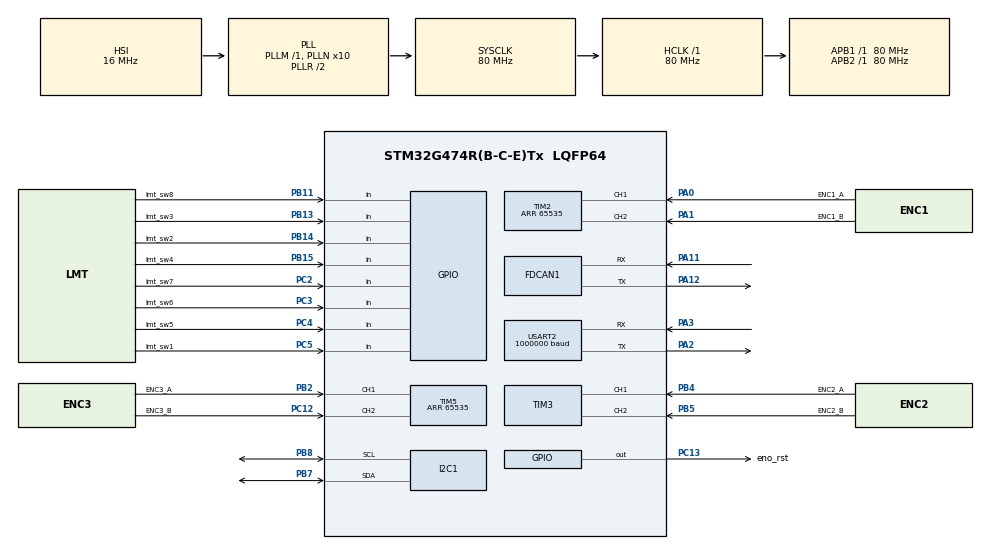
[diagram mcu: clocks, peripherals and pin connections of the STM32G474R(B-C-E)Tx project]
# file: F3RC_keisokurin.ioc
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FDCAN1.CalculateBaudRateNominal=1000000
FDCAN1.CalculateTimeBitNominal=1000
FDCAN1.CalculateTimeQuantumNominal=50.0
FDCAN1.DataPrescaler=2
FDCAN1.DataTimeSeg1=15
FDCAN1.DataTimeSeg2=4
FDCAN1.FrameFormat=FDCAN_FRAME_FD_BRS
FDCAN1.NominalPrescaler=4
FDCAN1.NominalTimeSeg1=15
FDCAN1.NominalTimeSeg2=2*2
FDCAN1.StdFiltersNbr=1
I2C1.Timing=0x10909CEC
Mcu.Family=STM32G4
Mcu.Name=STM32G474R(B-C-E)Tx
Mcu.Package=LQFP64
NVIC.FDCAN1_IT0_IRQn=true\:3\:0\:true\:false\:true\:true\:true\:true
NVIC.FDCAN1_IT1_IRQn=true\:3\:0\:true\:false\:true\:true\:true\:true
NVIC.PriorityGroup=NVIC_PRIORITYGROUP_4
NVIC.TIM4_IRQn=true\:1\:0\:true\:false\:true\:true\:true\:true
NVIC.TIM6_DAC_IRQn=true\:2\:0\:true\:false\:true\:true\:true\:true
NVIC.TIM7_DAC_IRQn=true\:1\:0\:true\:false\:true\:true\:true\:true
NVIC.USART2_IRQn=true\:0\:0\:false\:false\:true\:true\:true\:true
PA0.GPIO_Label=ENC1_A
PA0.GPIO_PuPd=GPIO_PULLUP
PA0.Signal=S_TIM2_CH1
PA1.GPIO_Label=ENC1_B
PA1.GPIO_PuPd=GPIO_PULLUP
PA1.Signal=S_TIM2_CH2
PA11.Mode=FDCAN_Activate
PA11.Signal=FDCAN1_RX
PA12.Mode=FDCAN_Activate
PA12.Signal=FDCAN1_TX
PA2.Mode=Asynchronous
PA2.Signal=USART2_TX
PA3.Mode=Asynchronous
PA3.Signal=USART2_RX
PB11.GPIO_Label=lmt_sw8
PB11.Signal=GPIO_Input
PB13.GPIO_Label=lmt_sw3
PB13.Signal=GPIO_Input
PB14.GPIO_Label=lmt_sw2
PB14.Signal=GPIO_Input
PB15.GPIO_Label=lmt_sw4
PB15.Signal=GPIO_Input
PB2.GPIO_Label=ENC3_A
PB2.GPIO_PuPd=GPIO_PULLUP
PB2.Signal=S_TIM5_CH1
PB4.GPIO_Label=ENC2_A
PB4.GPIO_PuPd=GPIO_PULLUP
PB4.Signal=S_TIM3_CH1
PB5.GPIO_Label=ENC2_B
PB5.GPIO_PuPd=GPIO_PULLUP
PB5.Signal=S_TIM3_CH2
PB7.Mode=I2C
PB7.Signal=I2C1_SDA
PB8-BOOT0.Mode=I2C
PB8-BOOT0.Signal=I2C1_SCL
PC12.GPIO_Label=ENC3_B
PC12.GPIO_PuPd=GPIO_PULLUP
PC12.Signal=S_TIM5_CH2
PC13.GPIO_Label=eno_rst
PC13.Signal=GPIO_Output
PC2.GPIO_Label=lmt_sw7
PC2.Signal=GPIO_Input
PC3.GPIO_Label=lmt_sw6
PC3.Signal=GPIO_Input
PC4.GPIO_Label=lmt_sw5
PC4.Signal=GPIO_Input
PC5.GPIO_Label=lmt_sw1
PC5.Signal=GPIO_Input
ProjectManager.HeapSize=0x200
ProjectManager.StackSize=0x400
ProjectManager.TargetToolchain=STM32CubeIDE
RCC.ADC12Freq_Value=80000000
RCC.ADC345Freq_Value=80000000
RCC.AHBFreq_Value=80000000
RCC.APB1Freq_Value=80000000
RCC.APB1TimFreq_Value=80000000
RCC.APB2Freq_Value=80000000
RCC.APB2TimFreq_Value=80000000
RCC.CortexFreq_Value=80000000
RCC.EXTERNAL_CLOCK_VALUE=12288000
RCC.HCLKFreq_Value=80000000
RCC.HSE_VALUE=8000000
RCC.HSI48_VALUE=48000000
RCC.HSI_VALUE=16000000
RCC.LSE_VALUE=32768
RCC.PLLN=10
RCC.SYSCLKFreq_VALUE=80000000
RCC.SYSCLKSource=RCC_SYSCLKSOURCE_PLLCLK
RCC.USBFreq_Value=80000000
RCC.VCOOutputFreq_Value=160000000
SH.S_TIM2_CH1.0=TIM2_CH1,Encoder_Interface
SH.S_TIM2_CH2.0=TIM2_CH2,Encoder_Interface
SH.S_TIM3_CH1.0=TIM3_CH1,Encoder_Interface
SH.S_TIM3_CH2.0=TIM3_CH2,Encoder_Interface
SH.S_TIM5_CH1.0=TIM5_CH1,Encoder_Interface
SH.S_TIM5_CH2.0=TIM5_CH2,Encoder_Interface
TIM2.IC1Filter=15
TIM2.IC2Filter=15
TIM2.PeriodNoDither=65535
TIM4.PeriodNoDither=499
TIM4.Prescaler=7999
TIM5.PeriodNoDither=65535
TIM6.PeriodNoDither=7999
TIM6.Prescaler=9
TIM7.PeriodNoDither=7999
TIM7.Prescaler=99
USART2.BaudRate=1000000
USART2.VirtualMode-Asynchronous=VM_ASYNC
VP_SYS_VS_DBSignals.Mode=DisableDeadBatterySignals
VP_TIM4_VS_ClockSourceINT.Mode=Internal
VP_TIM6_VS_ClockSourceINT.Mode=Enable_Timer
VP_TIM7_VS_ClockSourceINT.Mode=Enable_Timer
board=custom

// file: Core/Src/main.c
/* USER CODE BEGIN Header */
/**
  ******************************************************************************
  * @file           : main.c
  * @brief          : Main program body
  ******************************************************************************
  * @attention
  *
  * Copyright (c) 2024 STMicroelectronics.
  * All rights reserved.
  *
  * This software is licensed under terms that can be found in the LICENSE file
  * in the root directory of this software component.
  * If no LICENSE file comes with this software, it is provided AS-IS.
  *
  ******************************************************************************
  */
/* USER CODE END Header */
#include "main.h"

/* USER CODE BEGIN Includes */
#include <stdio.h>
#include <math.h>
/* USER CODE END Includes */

/* USER CODE BEGIN PTD */
typedef struct{
	uint8_t ID;
	volatile int16_t count;//pulse
	const float l_angle;//locate
	volatile float vel;//rad/ms
} Encoder;
/* USER CODE END PTD */

/* USER CODE BEGIN PD */
#define PI 3.1415

#define r 60//mm

#define R0 188//mm
#define R1 196//mm
#define R2 73//mm

#define swright 0x0c
#define swleft  0xc0
#define swfront 0x03
#define swback  0x30

/* USER CODE END PD */

FDCAN_HandleTypeDef hfdcan1;

I2C_HandleTypeDef hi2c1;

TIM_HandleTypeDef htim2;
TIM_HandleTypeDef htim3;
TIM_HandleTypeDef htim4;
TIM_HandleTypeDef htim5;
TIM_HandleTypeDef htim6;
TIM_HandleTypeDef htim7;

UART_HandleTypeDef huart2;

/* USER CODE BEGIN PV */

FDCAN_TxHeaderTypeDef TxHeader;
FDCAN_RxHeaderTypeDef RxHeader;
FDCAN_FilterTypeDef sFilterConfig;

uint8_t RxData[8] = {};
uint8_t TxData[8] = {};
uint32_t TxMailbox;

const float ppr[3] = {1035, 1000, 1000};

Encoder encoder[3] = {
		{0, 0, 0},
		{1, 0, 0},
		{2, 0, 0}
};

volatile float x = 0, y = 0;//mm
volatile float theta = 0;//rad
volatile uint8_t swstate = 0;//前�???????��?��??��?��???��?��??��?��????��?��??��?��???��?��??��?��?????��?��??��?��???��?��??��?��????��?��??��?��???��?��??��?��右、後ろ、左

uint8_t state = 0;
uint8_t sub_state = 0;
/* USER CODE END PV */

void SystemClock_Config(void);
static void MX_GPIO_Init(void);
static void MX_TIM2_Init(void);
static void MX_TIM3_Init(void);
static void MX_TIM5_Init(void);
static void MX_I2C1_Init(void);
static void MX_USART2_UART_Init(void);
static void MX_TIM6_Init(void);
static void MX_FDCAN1_Init(void);
static void MX_TIM4_Init(void);
static void MX_TIM7_Init(void);

/* USER CODE BEGIN 0 */
void HAL_FDCAN_RxFifo1Callback(FDCAN_HandleTypeDef *hfdcan, uint32_t RxFifo1ITs){
	if ((RxFifo1ITs & FDCAN_IT_RX_FIFO1_NEW_MESSAGE) != RESET) {

	        /* Retrieve Rx messages from RX FIFO0 */

		if (HAL_FDCAN_GetRxMessage(&hfdcan1, FDCAN_RX_FIFO1, &RxHeader, RxData) != HAL_OK) {
			printf("fdcan_getrxmessage is error\r\n");
			Error_Handler();
		}

		if (RxHeader.Identifier == 0x100) {
			state = RxData[0];
			sub_state = RxData[1];
		}
	}
}

int16_t read_encoder_value_1(void)
{
  int32_t count_t = 0;
  uint32_t enc_buff = TIM3->CNT;
  TIM3->CNT = 0;
  if (enc_buff > 0x8fffffff)
  {
    count_t = (int32_t)enc_buff*-1;
  }
  else
  {
    count_t = (int32_t)enc_buff;
  }
  return (int16_t)count_t;
}

int16_t read_encoder_value_2(void)
{
  int32_t count_t = 0;
  uint32_t enc_buff = TIM2->CNT;
  TIM2->CNT = 0;
  if (enc_buff > 0x8fffffff)
  {
    count_t = (int32_t)enc_buff*-1;
  }
  else
  {
    count_t = (int32_t)enc_buff;
  }
  return (int16_t)count_t;
}

int16_t read_encoder_value_3(void)
{
  int32_t count_t = 0;
  uint32_t enc_buff = TIM5->CNT;
  TIM5->CNT = 0;
  if (enc_buff > 0x8fffffff)
  {
    count_t = (int32_t)enc_buff*-1;
  }
  else
  {
    count_t = (int32_t)enc_buff;
  }
  return (int16_t)count_t;
}

void vel_calc(float Theta, float w1, float w2, float w3, float *Vx, float *Vy, float *Omega){

	float w[3] = {w1, w2, w3};

	float sint = sin(Theta);
	float cost = cos(Theta);

	float a[3][3] = {
			{-sint, cost, R0},
			{sint, -cost, R1},
			{cost, sint, R2}
	};

	float det = a[0][0]*a[1][1]*a[2][2];
	det += a[1][0]*a[2][1]*a[0][2];
	det += a[2][0]*a[0][1]*a[1][2];
	det -= a[2][0]*a[1][1]*a[0][2];
	det -= a[1][0]*a[0][1]*a[2][2];
	det -= a[0][0]*a[2][1]*a[1][2];

	float a_in[3][3] = {
			{( a[1][1]*a[2][2]-a[1][2]*a[2][1])/det, (-a[0][1]*a[2][2]+a[0][2]*a[2][1])/det, ( a[0][1]*a[1][2]-a[0][2]*a[1][1])/det},
			{(-a[1][0]*a[2][2]+a[1][2]*a[2][0])/det, ( a[0][0]*a[2][2]-a[0][2]*a[2][0])/det, (-a[0][0]*a[1][2]+a[0][2]*a[1][0])/det},
			{( a[1][0]*a[2][1]-a[1][1]*a[2][0])/det, (-a[0][0]*a[2][1]+a[0][1]*a[2][0])/det, ( a[0][0]*a[1][1]-a[0][1]*a[1][0])/det}
	};

	*Vx =    r*(a_in[0][0]*w[0]+a_in[0][1]*w[1]+a_in[0][2]*w[2])/2;
	*Vy =    r*(a_in[1][0]*w[0]+a_in[1][1]*w[1]+a_in[1][2]*w[2])/2;
	*Omega = r*(a_in[2][0]*w[0]+a_in[2][1]*w[1]+a_in[2][2]*w[2])/2;
}

void HAL_TIM_PeriodElapsedCallback(TIM_HandleTypeDef *htim){
	if(htim == &htim6){
		float dt = 1;
		float vx = 0, vy = 0;//mm/ms
		float omega = 0;//rad/ms
		encoder[0].count = read_encoder_value_1();
		encoder[1].count = read_encoder_value_2();
		encoder[2].count = read_encoder_value_3();

		for (int i = 0; i < 3;i++) {
			encoder[i].vel = 2*PI*((float)encoder[i].count/ppr[i])/dt;
		}

		vel_calc(theta, encoder[0].vel, encoder[1].vel, encoder[2].vel, &vx, &vy, &omega);

		x += vx * dt;
		y += vy * dt;
		theta += omega * dt	;

		theta = fmodf(theta, 2*PI);
//		uint16_t theta_syi;
//		uint8_t theta_se;
//		if (theta > 0){
//			theta_se = (int16_t)theta;
//			float theta_syf = theta - (int16_t)theta;
//			theta_syi = (uint16_t)(theta_syf*10000);
//		}
//		else{
//			theta_se = (int16_t)theta;
//			float theta_k = -theta;
//			float theta_syf = theta_k - (int16_t)theta_k;
//			theta_syi = (uint16_t)(theta_syf*10000);
//
//		}
		if (4 == state){
			if (0 == sub_state){
				if ((swstate & swright) == swright) {//right
					x = 0;//edge y
					theta = 0;
					TxData[6] = 1;
				}
				else {
					TxData[6] = 0;
				}
			}
			else if (1 == sub_state) {
				if ((swstate & swleft) == swleft) {//left
					y = -20;//edge x
					theta = PI/2;
					TxData[6] = 1;
				}
				else {
					TxData[6] = 0;
				}
			}
			else if (2 == sub_state) {
				if ((swstate & swleft) == swleft) {//left
					y = -20;//
					theta = PI/2;
					TxData[6] = 1;
				}
				else {
					TxData[6] = 0;
				}
			}
			else if (3 == sub_state) {
				if ((swstate & swleft) == swleft) {//front
					y = -20;//edge x
					theta = PI/2;
					TxData[6] = 1;
				}
				else {
					TxData[6] = 0;
				}
			}
/*			else if (4 == sub_state) {
				if ((swstate & swleft) == swleft) {//left
					y = 0;//edge y
					TxData[6] = 1;
				}
				else {
					TxData[6] = 0;
				}
			}
			else if (5 == sub_state) {
				if ((swstate & 0x03) == 0x03) {
					x = 0;//edge x
					RxData[6] = 1;
				}
				else {
					RxData[6] = 0;
				}
			}
			else if (6 == sub_state) {
				if ((swstate & 0xc0) == 0xc0) {
					y = 0;//edge y
					RxData[6] = 1;
				}
				else {
					RxData[6] = 0;
				}
			}*/
			else {
				TxData[6] = 0;
			}
		}
		else {
			TxData[6] = 0;
		}

	}
	if (&htim7 == htim) {
		theta *= 400;
		TxData[0] = (int16_t)(x) >> 8;
		TxData[1] = (uint8_t)((int16_t)(x) & 0xff);
		TxData[2] = (int16_t)(y) >> 8;
		TxData[3] = (uint8_t)((int16_t)(y) & 0xff);
		TxData[4] = (int16_t)(theta) >> 8;
		TxData[5] = (uint8_t)((int16_t)(theta) & 0xff);
		theta /= 400;
		//TxData[6] = theta_se;
		TxHeader.Identifier = 0x400;
		if (HAL_FDCAN_AddMessageToTxFifoQ(&hfdcan1, &TxHeader, TxData) != HAL_OK){
			printf("add_message_zahyo is error\r\n");
			Error_Handler();
		}
	}

	if(htim == &htim4){
		if(HAL_GPIO_ReadPin(lmt_sw1_GPIO_Port,lmt_sw1_Pin) == GPIO_PIN_RESET){
			//printf("sw1 on");
			swstate = swstate|0x01;
		}else {
			swstate = swstate&0xfe;
		}
		if(HAL_GPIO_ReadPin(lmt_sw2_GPIO_Port,lmt_sw2_Pin) == GPIO_PIN_RESET){
			//printf("sw2 on");
			swstate = swstate|0x02;
		}else {
			swstate = swstate&0xfd;
		}
		if(HAL_GPIO_ReadPin(lmt_sw3_GPIO_Port,lmt_sw3_Pin) == GPIO_PIN_RESET){
			//printf("sw3 on");
			swstate = swstate|0x04;
		}else {
			swstate = swstate&0xfb;
		}
		if(HAL_GPIO_ReadPin(lmt_sw4_GPIO_Port,lmt_sw4_Pin) == GPIO_PIN_RESET){
			//printf("sw4 on\r\n");
			swstate = swstate|0x08;
		}else {
			swstate = swstate&0xf7;
		}
		if(HAL_GPIO_ReadPin(lmt_sw5_GPIO_Port,lmt_sw5_Pin) == GPIO_PIN_RESET){
			swstate = swstate|0x10;
		}else {
			swstate = swstate&0xef;
		}
		if(HAL_GPIO_ReadPin(lmt_sw6_GPIO_Port,lmt_sw6_Pin) == GPIO_PIN_RESET){
			swstate = swstate|0x20;
		}else {
			swstate = swstate&0xdf;
		}
		if(HAL_GPIO_ReadPin(lmt_sw7_GPIO_Port,lmt_sw7_Pin) == GPIO_PIN_RESET){
			swstate = swstate|0x40;
		}else {
			swstate = swstate&0xbf;
		}
		if(HAL_GPIO_ReadPin(lmt_sw8_GPIO_Port,lmt_sw8_Pin) == GPIO_PIN_RESET){
			swstate = swstate|0x80;
		}else {
			swstate = swstate&0x7f;
		}
//		if ((swstate & swleft) == swleft) {//left
//			printf("left on\r\n");
//		}
//		if ((swstate & swright) == swright) {//left
//			printf("right on\r\n");
//		}
//		if ((swstate & swfront) == swfront) {//left
//			printf("front on\r\n");
//		}
	}
}

void FDCAN_RxTxSettings(void){
	FDCAN_FilterTypeDef FDCAN_Filter_settings;
	FDCAN_Filter_settings.IdType = FDCAN_STANDARD_ID;
	FDCAN_Filter_settings.FilterIndex = 0;
	FDCAN_Filter_settings.FilterType = FDCAN_FILTER_RANGE;
	FDCAN_Filter_settings.FilterConfig = FDCAN_FILTER_TO_RXFIFO1;
	FDCAN_Filter_settings.FilterID1 = 0x090;
	FDCAN_Filter_settings.FilterID2 = 0x310;

	TxHeader.Identifier = 0x400;
	TxHeader.IdType = FDCAN_STANDARD_ID;
	TxHeader.TxFrameType = FDCAN_DATA_FRAME;
	TxHeader.DataLength = FDCAN_DLC_BYTES_8;
	TxHeader.ErrorStateIndicator = FDCAN_ESI_ACTIVE;
	TxHeader.BitRateSwitch = FDCAN_BRS_ON;
	TxHeader.FDFormat = FDCAN_FD_CAN;
	TxHeader.TxEventFifoControl = FDCAN_NO_TX_EVENTS;
	TxHeader.MessageMarker = 0;

	if (HAL_FDCAN_ConfigFilter(&hfdcan1, &FDCAN_Filter_settings) != HAL_OK){
		printf("fdcan_configfilter is error\r\n");
		Error_Handler();
	}

	if (HAL_FDCAN_ConfigGlobalFilter(&hfdcan1, FDCAN_REJECT, FDCAN_FILTER_REJECT, FDCAN_FILTER_REMOTE, FDCAN_FILTER_REMOTE) != HAL_OK){
		printf("fdcan_configglobalfilter is error\r\n");
		Error_Handler();
	}

	if (HAL_FDCAN_Start(&hfdcan1) != HAL_OK) {
		printf("fdcan_start is error\r\n");
		Error_Handler();
	}

	if (HAL_FDCAN_ActivateNotification(&hfdcan1, FDCAN_IT_RX_FIFO1_NEW_MESSAGE, 0) != HAL_OK){
		printf("fdcan_activatenotification is error\r\n");
		Error_Handler();
	}
}

int _write(int file, char *ptr, int len)
{
    HAL_UART_Transmit(&huart2,(uint8_t *)ptr,len,10);
    return len;
}
/* USER CODE END 0 */

int main(void)
{

  /* USER CODE BEGIN 1 */
	setbuf(stdout, NULL);

  /* USER CODE END 1 */

  /* MCU Configuration--------------------------------------------------------*/

  /* Reset of all peripherals, Initializes the Flash interface and the Systick. */
  HAL_Init();

  /* Configure the system clock */
  SystemClock_Config();

  /* Initialize all configured peripherals */
  MX_GPIO_Init();
  MX_TIM2_Init();
  MX_TIM3_Init();
  MX_TIM5_Init();
  MX_I2C1_Init();
  MX_USART2_UART_Init();
  MX_TIM6_Init();
  MX_FDCAN1_Init();
  MX_TIM4_Init();
  MX_TIM7_Init();
  /* USER CODE BEGIN 2 */

  printf("start\r\n");
  printf("can tx start\r\n");
  FDCAN_RxTxSettings();
  HAL_TIM_Encoder_Start(&htim2, TIM_CHANNEL_ALL);
  HAL_TIM_Encoder_Start(&htim3, TIM_CHANNEL_ALL);
  HAL_TIM_Encoder_Start(&htim5, TIM_CHANNEL_ALL);
  /* USER CODE END 2 */

  /* Infinite loop */
  /* USER CODE BEGIN WHILE */
  HAL_TIM_Base_Start_IT(&htim6);
  HAL_TIM_Base_Start_IT(&htim4);
  HAL_TIM_Base_Start_IT(&htim7);
  //int en = 0;
  while (1)
  {
	  //int16_t count = read_encoder_value_1();
	  //printf("%d\r\n", count);
	  //printf("%d.%d.%d\r\n", encoder[0].count, encoder[1].count, encoder[2].count);
	  //printf("%d", encoder[2].count);
	  //printf("\r\n");
	  //en += read_encoder_value_1();
	  //printf("%d\r\n", en);
	  printf("%f, %f, %f, %f, %f, %f\r\n", x, y, theta, 0, 0, 0);
	  //printf("swstate:%d\r\n",swstate);
	  HAL_Delay(100);
    /* USER CODE END WHILE */

  }
}

void SystemClock_Config(void)
{
  RCC_OscInitTypeDef RCC_OscInitStruct = {0};
  RCC_ClkInitTypeDef RCC_ClkInitStruct = {0};

  /** Configure the main internal regulator output voltage
  */
  HAL_PWREx_ControlVoltageScaling(PWR_REGULATOR_VOLTAGE_SCALE1);

  /** Initializes the RCC Oscillators according to the specified parameters
  * in the RCC_OscInitTypeDef structure.
  */
  RCC_OscInitStruct.OscillatorType = RCC_OSCILLATORTYPE_HSI;
  RCC_OscInitStruct.HSIState = RCC_HSI_ON;
  RCC_OscInitStruct.HSICalibrationValue = RCC_HSICALIBRATION_DEFAULT;
  RCC_OscInitStruct.PLL.PLLState = RCC_PLL_ON;
  RCC_OscInitStruct.PLL.PLLSource = RCC_PLLSOURCE_HSI;
  RCC_OscInitStruct.PLL.PLLM = RCC_PLLM_DIV1;
  RCC_OscInitStruct.PLL.PLLN = 10;
  RCC_OscInitStruct.PLL.PLLP = RCC_PLLP_DIV2;
  RCC_OscInitStruct.PLL.PLLQ = RCC_PLLQ_DIV2;
  RCC_OscInitStruct.PLL.PLLR = RCC_PLLR_DIV2;
  if (HAL_RCC_OscConfig(&RCC_OscInitStruct) != HAL_OK)
  {
    Error_Handler();
  }

  /** Initializes the CPU, AHB and APB buses clocks
  */
  RCC_ClkInitStruct.ClockType = RCC_CLOCKTYPE_HCLK|RCC_CLOCKTYPE_SYSCLK
                              |RCC_CLOCKTYPE_PCLK1|RCC_CLOCKTYPE_PCLK2;
  RCC_ClkInitStruct.SYSCLKSource = RCC_SYSCLKSOURCE_PLLCLK;
  RCC_ClkInitStruct.AHBCLKDivider = RCC_SYSCLK_DIV1;
  RCC_ClkInitStruct.APB1CLKDivider = RCC_HCLK_DIV1;
  RCC_ClkInitStruct.APB2CLKDivider = RCC_HCLK_DIV1;

  if (HAL_RCC_ClockConfig(&RCC_ClkInitStruct, FLASH_LATENCY_2) != HAL_OK)
  {
    Error_Handler();
  }
}

static void MX_FDCAN1_Init(void)
{

  hfdcan1.Instance = FDCAN1;
  hfdcan1.Init.ClockDivider = FDCAN_CLOCK_DIV1;
  hfdcan1.Init.FrameFormat = FDCAN_FRAME_FD_BRS;
  hfdcan1.Init.Mode = FDCAN_MODE_NORMAL;
  hfdcan1.Init.AutoRetransmission = DISABLE;
  hfdcan1.Init.TransmitPause = DISABLE;
  hfdcan1.Init.ProtocolException = DISABLE;
  hfdcan1.Init.NominalPrescaler = 4;
  hfdcan1.Init.NominalSyncJumpWidth = 1;
  hfdcan1.Init.NominalTimeSeg1 = 15;
  hfdcan1.Init.NominalTimeSeg2 = 2*2;
  hfdcan1.Init.DataPrescaler = 2;
  hfdcan1.Init.DataSyncJumpWidth = 1;
  hfdcan1.Init.DataTimeSeg1 = 15;
  hfdcan1.Init.DataTimeSeg2 = 4;
  hfdcan1.Init.StdFiltersNbr = 1;
  hfdcan1.Init.ExtFiltersNbr = 0;
  hfdcan1.Init.TxFifoQueueMode = FDCAN_TX_FIFO_OPERATION;
  if (HAL_FDCAN_Init(&hfdcan1) != HAL_OK)
  {
    Error_Handler();
  }

}

static void MX_I2C1_Init(void)
{

  hi2c1.Instance = I2C1;
  hi2c1.Init.Timing = 0x10909CEC;
  hi2c1.Init.OwnAddress1 = 0;
  hi2c1.Init.AddressingMode = I2C_ADDRESSINGMODE_7BIT;
  hi2c1.Init.DualAddressMode = I2C_DUALADDRESS_DISABLE;
  hi2c1.Init.OwnAddress2 = 0;
  hi2c1.Init.OwnAddress2Masks = I2C_OA2_NOMASK;
  hi2c1.Init.GeneralCallMode = I2C_GENERALCALL_DISABLE;
  hi2c1.Init.NoStretchMode = I2C_NOSTRETCH_DISABLE;
  if (HAL_I2C_Init(&hi2c1) != HAL_OK)
  {
    Error_Handler();
  }

  /** Configure Analogue filter
  */
  if (HAL_I2CEx_ConfigAnalogFilter(&hi2c1, I2C_ANALOGFILTER_ENABLE) != HAL_OK)
  {
    Error_Handler();
  }

  /** Configure Digital filter
  */
  if (HAL_I2CEx_ConfigDigitalFilter(&hi2c1, 0) != HAL_OK)
  {
    Error_Handler();
  }

}

static void MX_TIM2_Init(void)
{

  TIM_Encoder_InitTypeDef sConfig = {0};
  TIM_MasterConfigTypeDef sMasterConfig = {0};

  htim2.Instance = TIM2;
  htim2.Init.Prescaler = 0;
  htim2.Init.CounterMode = TIM_COUNTERMODE_UP;
  htim2.Init.Period = 65535;
  htim2.Init.ClockDivision = TIM_CLOCKDIVISION_DIV1;
  htim2.Init.AutoReloadPreload = TIM_AUTORELOAD_PRELOAD_DISABLE;
  sConfig.EncoderMode = TIM_ENCODERMODE_TI1;
  sConfig.IC1Polarity = TIM_ICPOLARITY_RISING;
  sConfig.IC1Selection = TIM_ICSELECTION_DIRECTTI;
  sConfig.IC1Prescaler = TIM_ICPSC_DIV1;
  sConfig.IC1Filter = 15;
  sConfig.IC2Polarity = TIM_ICPOLARITY_RISING;
  sConfig.IC2Selection = TIM_ICSELECTION_DIRECTTI;
  sConfig.IC2Prescaler = TIM_ICPSC_DIV1;
  sConfig.IC2Filter = 15;
  if (HAL_TIM_Encoder_Init(&htim2, &sConfig) != HAL_OK)
  {
    Error_Handler();
  }
  sMasterConfig.MasterOutputTrigger = TIM_TRGO_RESET;
  sMasterConfig.MasterSlaveMode = TIM_MASTERSLAVEMODE_DISABLE;
  if (HAL_TIMEx_MasterConfigSynchronization(&htim2, &sMasterConfig) != HAL_OK)
  {
    Error_Handler();
  }

}

static void MX_TIM3_Init(void)
{

  TIM_Encoder_InitTypeDef sConfig = {0};
  TIM_MasterConfigTypeDef sMasterConfig = {0};

  htim3.Instance = TIM3;
  htim3.Init.Prescaler = 0;
  htim3.Init.CounterMode = TIM_COUNTERMODE_UP;
  htim3.Init.Period = 65535;
  htim3.Init.ClockDivision = TIM_CLOCKDIVISION_DIV1;
  htim3.Init.AutoReloadPreload = TIM_AUTORELOAD_PRELOAD_DISABLE;
  sConfig.EncoderMode = TIM_ENCODERMODE_TI1;
  sConfig.IC1Polarity = TIM_ICPOLARITY_RISING;
  sConfig.IC1Selection = TIM_ICSELECTION_DIRECTTI;
  sConfig.IC1Prescaler = TIM_ICPSC_DIV1;
  sConfig.IC1Filter = 0;
  sConfig.IC2Polarity = TIM_ICPOLARITY_RISING;
  sConfig.IC2Selection = TIM_ICSELECTION_DIRECTTI;
  sConfig.IC2Prescaler = TIM_ICPSC_DIV1;
  sConfig.IC2Filter = 0;
  if (HAL_TIM_Encoder_Init(&htim3, &sConfig) != HAL_OK)
  {
    Error_Handler();
  }
  sMasterConfig.MasterOutputTrigger = TIM_TRGO_RESET;
  sMasterConfig.MasterSlaveMode = TIM_MASTERSLAVEMODE_DISABLE;
  if (HAL_TIMEx_MasterConfigSynchronization(&htim3, &sMasterConfig) != HAL_OK)
  {
    Error_Handler();
  }

}

static void MX_TIM4_Init(void)
{

  TIM_ClockConfigTypeDef sClockSourceConfig = {0};
  TIM_MasterConfigTypeDef sMasterConfig = {0};

  htim4.Instance = TIM4;
  htim4.Init.Prescaler = 7999;
  htim4.Init.CounterMode = TIM_COUNTERMODE_UP;
  htim4.Init.Period = 499;
  htim4.Init.ClockDivision = TIM_CLOCKDIVISION_DIV1;
  htim4.Init.AutoReloadPreload = TIM_AUTORELOAD_PRELOAD_DISABLE;
  if (HAL_TIM_Base_Init(&htim4) != HAL_OK)
  {
    Error_Handler();
  }
  sClockSourceConfig.ClockSource = TIM_CLOCKSOURCE_INTERNAL;
  if (HAL_TIM_ConfigClockSource(&htim4, &sClockSourceConfig) != HAL_OK)
  {
    Error_Handler();
  }
  sMasterConfig.MasterOutputTrigger = TIM_TRGO_RESET;
  sMasterConfig.MasterSlaveMode = TIM_MASTERSLAVEMODE_DISABLE;
  if (HAL_TIMEx_MasterConfigSynchronization(&htim4, &sMasterConfig) != HAL_OK)
  {
    Error_Handler();
  }

}

static void MX_TIM5_Init(void)
{

  TIM_Encoder_InitTypeDef sConfig = {0};
  TIM_MasterConfigTypeDef sMasterConfig = {0};

  htim5.Instance = TIM5;
  htim5.Init.Prescaler = 0;
  htim5.Init.CounterMode = TIM_COUNTERMODE_UP;
  htim5.Init.Period = 65535;
  htim5.Init.ClockDivision = TIM_CLOCKDIVISION_DIV1;
  htim5.Init.AutoReloadPreload = TIM_AUTORELOAD_PRELOAD_DISABLE;
  sConfig.EncoderMode = TIM_ENCODERMODE_TI1;
  sConfig.IC1Polarity = TIM_ICPOLARITY_RISING;
  sConfig.IC1Selection = TIM_ICSELECTION_DIRECTTI;
  sConfig.IC1Prescaler = TIM_ICPSC_DIV1;
  sConfig.IC1Filter = 0;
  sConfig.IC2Polarity = TIM_ICPOLARITY_RISING;
  sConfig.IC2Selection = TIM_ICSELECTION_DIRECTTI;
  sConfig.IC2Prescaler = TIM_ICPSC_DIV1;
  sConfig.IC2Filter = 0;
  if (HAL_TIM_Encoder_Init(&htim5, &sConfig) != HAL_OK)
  {
    Error_Handler();
  }
  sMasterConfig.MasterOutputTrigger = TIM_TRGO_RESET;
  sMasterConfig.MasterSlaveMode = TIM_MASTERSLAVEMODE_DISABLE;
  if (HAL_TIMEx_MasterConfigSynchronization(&htim5, &sMasterConfig) != HAL_OK)
  {
    Error_Handler();
  }

}

static void MX_TIM6_Init(void)
{

  TIM_MasterConfigTypeDef sMasterConfig = {0};

  htim6.Instance = TIM6;
  htim6.Init.Prescaler = 9;
  htim6.Init.CounterMode = TIM_COUNTERMODE_UP;
  htim6.Init.Period = 7999;
  htim6.Init.AutoReloadPreload = TIM_AUTORELOAD_PRELOAD_DISABLE;
  if (HAL_TIM_Base_Init(&htim6) != HAL_OK)
  {
    Error_Handler();
  }
  sMasterConfig.MasterOutputTrigger = TIM_TRGO_RESET;
  sMasterConfig.MasterSlaveMode = TIM_MASTERSLAVEMODE_DISABLE;
  if (HAL_TIMEx_MasterConfigSynchronization(&htim6, &sMasterConfig) != HAL_OK)
  {
    Error_Handler();
  }

}

static void MX_TIM7_Init(void)
{

  TIM_MasterConfigTypeDef sMasterConfig = {0};

  htim7.Instance = TIM7;
  htim7.Init.Prescaler = 99;
  htim7.Init.CounterMode = TIM_COUNTERMODE_UP;
  htim7.Init.Period = 7999;
  htim7.Init.AutoReloadPreload = TIM_AUTORELOAD_PRELOAD_DISABLE;
  if (HAL_TIM_Base_Init(&htim7) != HAL_OK)
  {
    Error_Handler();
  }
  sMasterConfig.MasterOutputTrigger = TIM_TRGO_RESET;
  sMasterConfig.MasterSlaveMode = TIM_MASTERSLAVEMODE_DISABLE;
  if (HAL_TIMEx_MasterConfigSynchronization(&htim7, &sMasterConfig) != HAL_OK)
  {
    Error_Handler();
  }

}

static void MX_USART2_UART_Init(void)
{

  huart2.Instance = USART2;
  huart2.Init.BaudRate = 1000000;
  huart2.Init.WordLength = UART_WORDLENGTH_8B;
  huart2.Init.StopBits = UART_STOPBITS_1;
  huart2.Init.Parity = UART_PARITY_NONE;
  huart2.Init.Mode = UART_MODE_TX_RX;
  huart2.Init.HwFlowCtl = UART_HWCONTROL_NONE;
  huart2.Init.OverSampling = UART_OVERSAMPLING_16;
  huart2.Init.OneBitSampling = UART_ONE_BIT_SAMPLE_DISABLE;
  huart2.Init.ClockPrescaler = UART_PRESCALER_DIV1;
  huart2.AdvancedInit.AdvFeatureInit = UART_ADVFEATURE_NO_INIT;
  if (HAL_UART_Init(&huart2) != HAL_OK)
  {
    Error_Handler();
  }
  if (HAL_UARTEx_SetTxFifoThreshold(&huart2, UART_TXFIFO_THRESHOLD_1_8) != HAL_OK)
  {
    Error_Handler();
  }
  if (HAL_UARTEx_SetRxFifoThreshold(&huart2, UART_RXFIFO_THRESHOLD_1_8) != HAL_OK)
  {
    Error_Handler();
  }
  if (HAL_UARTEx_DisableFifoMode(&huart2) != HAL_OK)
  {
    Error_Handler();
  }

}

static void MX_GPIO_Init(void)
{
  GPIO_InitTypeDef GPIO_InitStruct = {0};

  /* GPIO Ports Clock Enable */
  __HAL_RCC_GPIOC_CLK_ENABLE();
  __HAL_RCC_GPIOA_CLK_ENABLE();
  __HAL_RCC_GPIOB_CLK_ENABLE();

  /*Configure GPIO pin Output Level */
  HAL_GPIO_WritePin(eno_rst_GPIO_Port, eno_rst_Pin, GPIO_PIN_RESET);

  /*Configure GPIO pin : eno_rst_Pin */
  GPIO_InitStruct.Pin = eno_rst_Pin;
  GPIO_InitStruct.Mode = GPIO_MODE_OUTPUT_PP;
  GPIO_InitStruct.Pull = GPIO_NOPULL;
  GPIO_InitStruct.Speed = GPIO_SPEED_FREQ_LOW;
  HAL_GPIO_Init(eno_rst_GPIO_Port, &GPIO_InitStruct);

  /*Configure GPIO pins : lmt_sw7_Pin lmt_sw6_Pin lmt_sw5_Pin lmt_sw1_Pin */
  GPIO_InitStruct.Pin = lmt_sw7_Pin|lmt_sw6_Pin|lmt_sw5_Pin|lmt_sw1_Pin;
  GPIO_InitStruct.Mode = GPIO_MODE_INPUT;
  GPIO_InitStruct.Pull = GPIO_NOPULL;
  HAL_GPIO_Init(GPIOC, &GPIO_InitStruct);

  /*Configure GPIO pins : lmt_sw8_Pin lmt_sw3_Pin lmt_sw2_Pin lmt_sw4_Pin */
  GPIO_InitStruct.Pin = lmt_sw8_Pin|lmt_sw3_Pin|lmt_sw2_Pin|lmt_sw4_Pin;
  GPIO_InitStruct.Mode = GPIO_MODE_INPUT;
  GPIO_InitStruct.Pull = GPIO_NOPULL;
  HAL_GPIO_Init(GPIOB, &GPIO_InitStruct);

}

void Error_Handler(void)
{
  /* USER CODE BEGIN Error_Handler_Debug */
  /* User can add his own implementation to report the HAL error return state */
  __disable_irq();
  printf("Error\r\n");
  while (1)
  {
  }
  /* USER CODE END Error_Handler_Debug */
}
